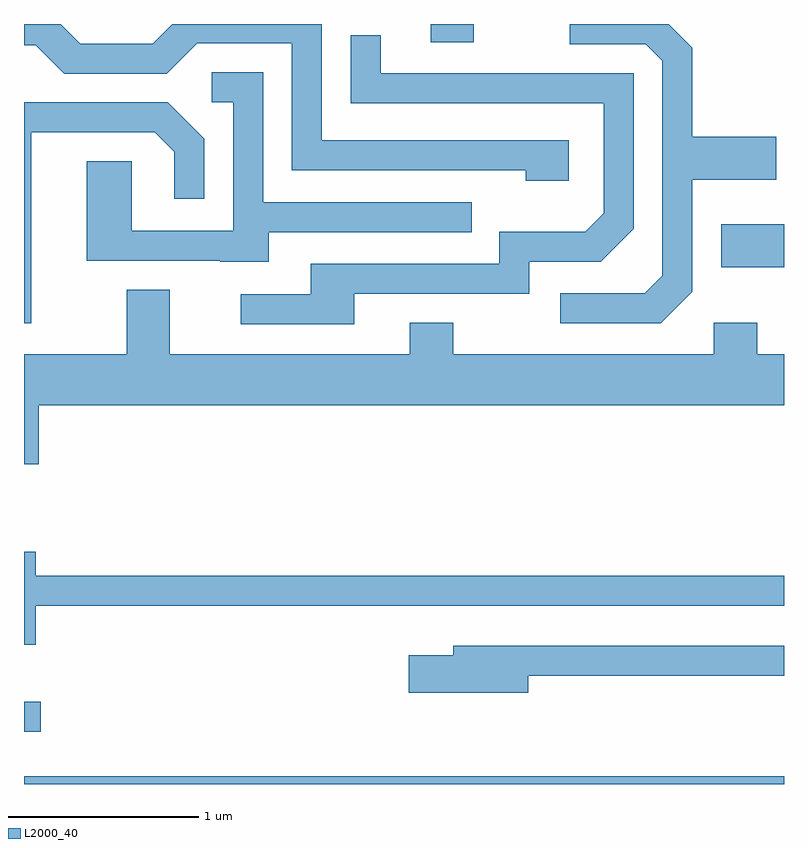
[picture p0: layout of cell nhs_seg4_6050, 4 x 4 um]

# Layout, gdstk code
import gdstk
lib = gdstk.Library(unit=1e-6, precision=1e-09)
def R(c, l, rs):  # rectangles x0, y0, x1, y1
    for r in rs: c.add(gdstk.rectangle(r[:2], r[2:], *l))
def P(c, l, *ps):  # polygons
    for p in ps: c.add(gdstk.Polygon(p, *l))
L2000_40 = (2000, 40)

nhs_seg4_6050 = lib.new_cell('nhs_seg4_6050')
R(nhs_seg4_6050, L2000_40, [(361.611,1385.982,365.611,1386.024), (361.611,1386.256,361.698,1386.414), (365.281,1388.701,365.611,1388.929), (363.751,1389.886,363.979,1389.982)])
P(nhs_seg4_6050, L2000_40, [(364.479,1389.369),(363.179,1389.369),(363.179,1389.982),(362.392,1389.982),(362.289,1389.879),(361.907,1389.879),(361.804,1389.982),(361.611,1389.982),(361.611,1389.871),(361.674,1389.871),(361.824,1389.721),(362.362,1389.721),(362.522,1389.881),(363.021,1389.881),(363.021,1389.211),(364.251,1389.211),(364.251,1389.156),(364.479,1389.156)],
  [(365.129,1388.574),(365.129,1389.161),(365.569,1389.161),(365.569,1389.389),(365.129,1389.389),(365.129,1389.857),(365.004,1389.982),(364.483,1389.982),(364.483,1389.876),(364.884,1389.876),(364.971,1389.789),(364.971,1388.657),(364.879,1388.564),(364.433,1388.564),(364.433,1388.406),(364.962,1388.406)],
  [(363.349,1388.561),(364.269,1388.561),(364.269,1388.731),(364.647,1388.731),(364.819,1388.904),(364.819,1389.724),(363.489,1389.724),(363.489,1389.923),(363.331,1389.923),(363.331,1389.566),(364.661,1389.566),(364.661,1388.987),(364.564,1388.889),(364.111,1388.889),(364.111,1388.719),(363.121,1388.719),(363.121,1388.559),(362.753,1388.559),(362.753,1388.401),(363.349,1388.401)],
  [(362.899,1388.886),(363.968,1388.886),(363.968,1389.044),(362.869,1389.044),(362.869,1389.729),(362.598,1389.729),(362.598,1389.571),(362.711,1389.571),(362.711,1388.894),(362.179,1388.894),(362.179,1389.259),(361.941,1389.259),(361.941,1388.736),(362.645,1388.736),(362.645,1388.731),(362.899,1388.731)],
  [(361.649,1389.411),(362.299,1389.411),(362.401,1389.309),(362.401,1389.063),(362.559,1389.063),(362.559,1389.377),(362.367,1389.569),(361.611,1389.569),(361.611,1388.406),(361.649,1388.406)],
  [(361.689,1387.976),(365.611,1387.976),(365.611,1388.244),(365.469,1388.244),(365.469,1388.409),(365.241,1388.409),(365.241,1388.244),(363.869,1388.244),(363.869,1388.409),(363.641,1388.409),(363.641,1388.244),(362.379,1388.244),(362.379,1388.584),(362.151,1388.584),(362.151,1388.244),(361.611,1388.244),(361.611,1387.666),(361.689,1387.666)],
  [(361.674,1386.921),(365.611,1386.921),(365.611,1387.079),(361.674,1387.079),(361.674,1387.204),(361.611,1387.204),(361.611,1386.716),(361.674,1386.716)],
  [(364.264,1386.551),(365.611,1386.551),(365.611,1386.709),(363.871,1386.709),(363.871,1386.659),(363.636,1386.659),(363.636,1386.461),(364.264,1386.461)])

lib.write_gds('nhs_seg4_6050.gds')
